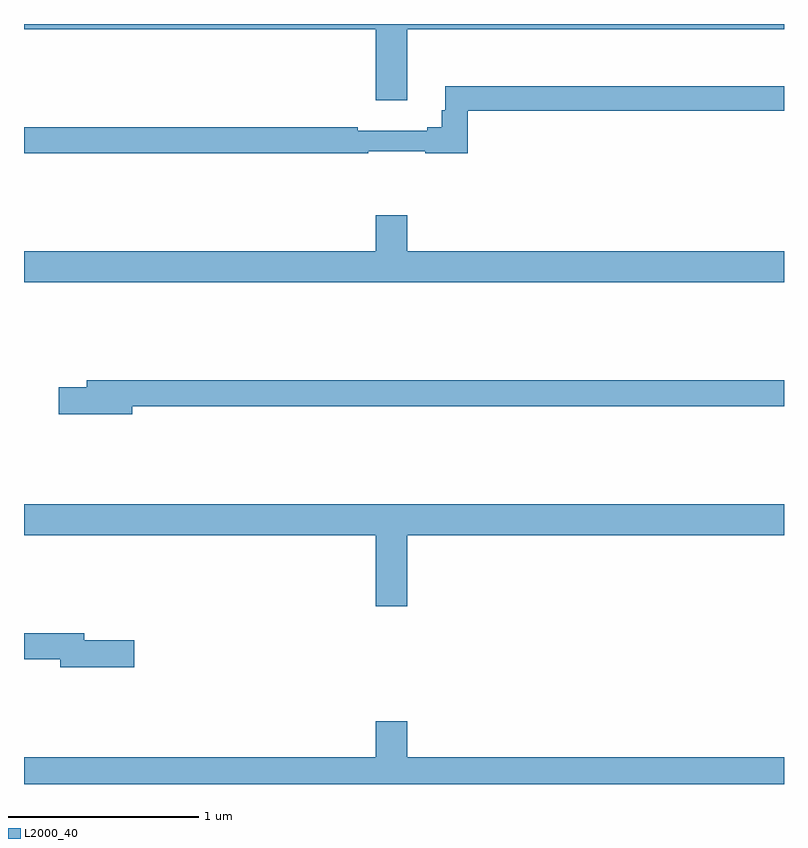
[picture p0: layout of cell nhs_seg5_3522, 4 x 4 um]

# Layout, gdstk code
import gdstk
lib = gdstk.Library(unit=1e-6, precision=1e-09)
def P(c, l, *ps):  # polygons
    for p in ps: c.add(gdstk.Polygon(p, *l))
L2000_40 = (2000, 40)

nhs_seg5_3522 = lib.new_cell('nhs_seg5_3522')
P(nhs_seg5_3522, L2000_40, [(321.016,844.772),(323,844.772),(323,844.799),(319,844.799),(319,844.772),(320.852,844.772),(320.852,844.398),(321.016,844.398)],
  [(320.812,844.128),(321.112,844.128),(321.112,844.12),(321.335,844.12),(321.335,844.342),(323,844.342),(323,844.471),(321.218,844.471),(321.218,844.344),(321.199,844.344),(321.199,844.256),(321.122,844.256),(321.122,844.237),(320.756,844.237),(320.756,844.256),(319,844.256),(319,844.12),(320.812,844.12)],
  [(323,843.604),(321.016,843.604),(321.016,843.793),(320.852,843.793),(320.852,843.604),(319,843.604),(319,843.44),(323,843.44)],
  [(319.57,842.788),(323,842.788),(323,842.924),(319.331,842.924),(319.331,842.888),(319.182,842.888),(319.182,842.746),(319.57,842.746)],
  [(321.016,842.108),(323,842.108),(323,842.272),(319,842.272),(319,842.108),(320.852,842.108),(320.852,841.734),(321.016,841.734)],
  [(319.579,841.556),(319.318,841.556),(319.318,841.592),(319,841.592),(319,841.456),(319.19,841.456),(319.19,841.414),(319.579,841.414)],
  [(323,840.94),(321.016,840.94),(321.016,841.129),(320.852,841.129),(320.852,840.94),(319,840.94),(319,840.799),(323,840.799)])

lib.write_gds('nhs_seg5_3522.gds')
